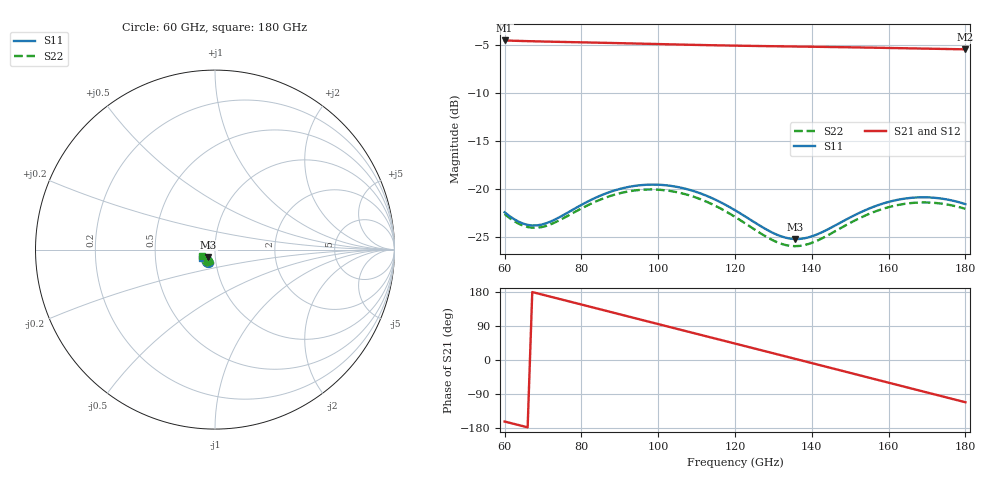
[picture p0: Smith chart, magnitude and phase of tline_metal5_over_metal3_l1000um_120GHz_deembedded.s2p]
! Created with skrf 2.0.1 (http://scikit-rf.org).
# GHz S DB R 50.0
!freq dBS11 angS11 dBS21 angS21 dBS12 angS12 dBS22 angS22
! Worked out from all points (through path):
!   101 points, 60 GHz to 180 GHz, reference 50 ohm
!   highest |S21| = -4.56 dB at 60 GHz (marker M1); lowest = -5.5 dB at 180 GHz (marker M2)
!   group delay of S21, straight-line fit = 7.16 ps
!   lowest |S11| = -25.2 dB at 135.6 GHz (marker M3), VSWR 1.12, Z = 46.3 - j3.83 ohm
!   |S11| at or under -10 dB: start of sweep to end of sweep
!   |S22| runs from -25.9 to -20.0 dB; largest |S21 - S12| = 6.8e-14
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60  -22.40 -121.2  -4.56 -162.4  -4.56 -162.4  -22.59 -122.2
64.8  -23.58 -113.8  -4.62 -174.6  -4.62 -174.6  -23.79 -115.2
68.4  -23.76 -106.8  -4.65 176.2  -4.65 176.2  -24.01 -108.5
74.4  -22.89 -98.7  -4.71 160.8  -4.71 160.8  -23.21 -100.8
80.4  -21.55 -98.2  -4.76 145.4  -4.76 145.4  -21.92 -100.5
86.4  -20.44 -103.0  -4.81 129.9  -4.81 129.9  -20.86 -105.5
91.2  -19.86 -108.9  -4.85 117.5  -4.85 117.5  -20.32 -111.6
96  -19.57 -115.6  -4.90 105.1  -4.90 105.1  -20.06 -118.6
100.8  -19.56 -122.7  -4.94 92.7  -4.94 92.7  -20.08 -125.9
105.6  -19.82 -129.6  -4.99 80.4  -4.99 80.4  -20.38 -133.0
110.4  -20.35 -135.9  -5.03 68.0  -5.03 68.0  -20.95 -139.5
120  -22.19 -144.2  -5.10 43.4  -5.10 43.4  -22.88 -148.1
128.4  -24.24 -142.2  -5.15 21.8  -5.15 21.8  -25.00 -145.9
135.6  -25.18 -131.6  -5.19 3.2  -5.19 3.2  -25.92 -134.9
140.4  -24.85 -123.8  -5.21 -9.2  -5.21 -9.2  -25.52 -127.1
150  -22.94 -118.3  -5.27 -34.0  -5.27 -34.0  -23.51 -122.4
156  -21.85 -121.3  -5.31 -49.5  -5.31 -49.5  -22.40 -126.0
160.8  -21.24 -125.6  -5.34 -61.9  -5.34 -61.9  -21.79 -130.7
165.6  -20.91 -130.8  -5.38 -74.3  -5.38 -74.3  -21.45 -136.3
170.4  -20.86 -136.4  -5.41 -86.7  -5.41 -86.7  -21.39 -142.3
175.2  -21.07 -141.9  -5.45 -99.1  -5.45 -99.1  -21.59 -148.1
180  -21.55 -146.7  -5.48 -111.5  -5.48 -111.5  -22.04 -153.3
